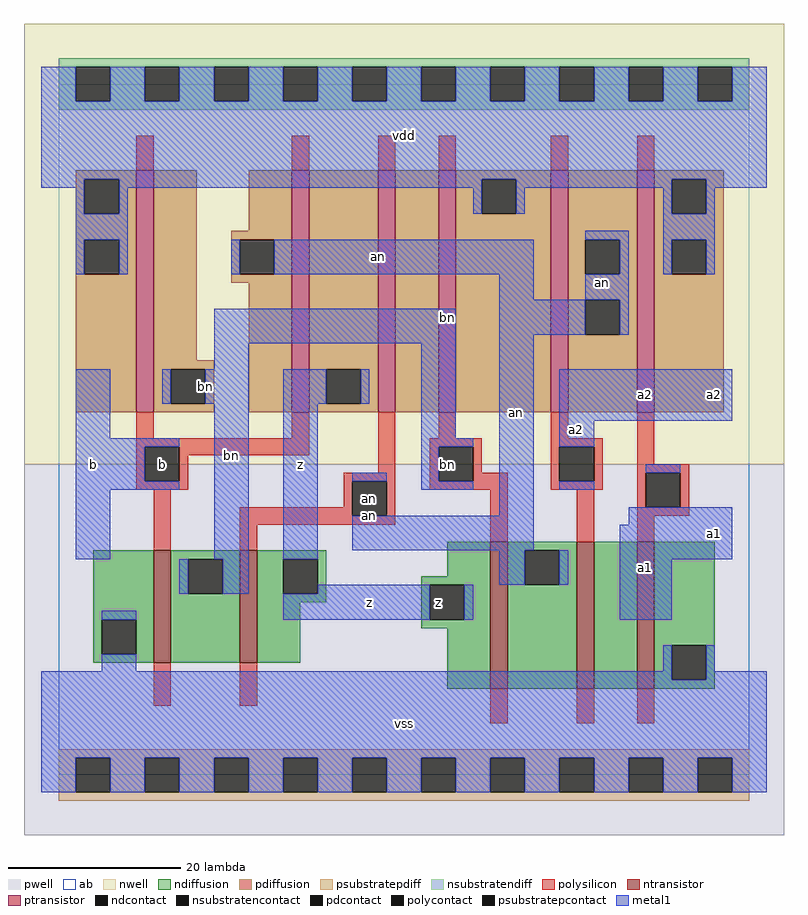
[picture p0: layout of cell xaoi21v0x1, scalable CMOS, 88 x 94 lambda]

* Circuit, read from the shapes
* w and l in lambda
.subckt xaoi21v0x1 a1 a2 an b bn vdd vss z
M1 bn b vss vss nfet w=13 l=2
M2 z an bn vss nfet w=13 l=2
M3 an bn z vss nfet w=17 l=2
M4 n1 a2 an vss nfet w=17 l=2
M5 vss a1 n1 vss nfet w=17 l=2
M6 bn b vdd vdd pfet w=28 l=2
M7 z b an vdd pfet w=28 l=2
M8 n2 an z vdd pfet w=28 l=2
M9 vdd bn n2 vdd pfet w=28 l=2
M10 an a2 vdd vdd pfet w=28 l=2
M11 vdd a1 an vdd pfet w=28 l=2
.ends

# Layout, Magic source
magic
tech scmos
<< ab >>
rect 0 0 80 80
<< pwell >>
rect -4 -7 84 36
<< nwell >>
rect -4 36 84 87
<< polysilicon >>
rect 9 70 11 74
rect 27 70 29 74
rect 37 70 39 74
rect 44 70 46 74
rect 57 70 59 74
rect 67 70 69 74
rect 9 39 11 42
rect 27 39 29 42
rect 9 38 29 39
rect 9 34 10 38
rect 14 37 29 38
rect 14 34 15 37
rect 37 35 39 42
rect 44 39 46 42
rect 57 39 59 42
rect 9 33 15 34
rect 33 34 39 35
rect 11 26 13 33
rect 33 31 34 34
rect 21 30 34 31
rect 38 30 39 34
rect 43 38 49 39
rect 43 34 44 38
rect 48 35 49 38
rect 57 38 63 39
rect 48 34 52 35
rect 43 33 52 34
rect 57 34 58 38
rect 62 34 63 38
rect 57 33 63 34
rect 67 36 69 42
rect 67 35 73 36
rect 21 29 39 30
rect 21 26 23 29
rect 50 27 52 33
rect 60 27 62 33
rect 67 31 68 35
rect 72 31 73 35
rect 67 30 73 31
rect 67 27 69 30
rect 11 8 13 13
rect 21 8 23 13
rect 50 6 52 10
rect 60 6 62 10
rect 67 6 69 10
<< ndiffusion >>
rect 4 18 11 26
rect 4 14 5 18
rect 9 14 11 18
rect 4 13 11 14
rect 13 25 21 26
rect 13 21 15 25
rect 19 21 21 25
rect 13 13 21 21
rect 23 25 31 26
rect 23 21 26 25
rect 30 21 31 25
rect 45 23 50 27
rect 23 20 31 21
rect 42 22 50 23
rect 23 13 28 20
rect 42 18 43 22
rect 47 18 50 22
rect 42 17 50 18
rect 45 10 50 17
rect 52 26 60 27
rect 52 22 54 26
rect 58 22 60 26
rect 52 10 60 22
rect 62 10 67 27
rect 69 15 76 27
rect 69 11 71 15
rect 75 11 76 15
rect 69 10 76 11
<< pdiffusion >>
rect 2 69 9 70
rect 2 65 3 69
rect 7 65 9 69
rect 2 62 9 65
rect 2 58 3 62
rect 7 58 9 62
rect 2 42 9 58
rect 11 48 16 70
rect 22 63 27 70
rect 20 62 27 63
rect 20 58 21 62
rect 25 58 27 62
rect 20 57 27 58
rect 11 47 18 48
rect 11 43 13 47
rect 17 43 18 47
rect 11 42 18 43
rect 22 42 27 57
rect 29 47 37 70
rect 29 43 31 47
rect 35 43 37 47
rect 29 42 37 43
rect 39 42 44 70
rect 46 69 57 70
rect 46 65 49 69
rect 53 65 57 69
rect 46 42 57 65
rect 59 62 67 70
rect 59 58 61 62
rect 65 58 67 62
rect 59 55 67 58
rect 59 51 61 55
rect 65 51 67 55
rect 59 42 67 51
rect 69 69 77 70
rect 69 65 71 69
rect 75 65 77 69
rect 69 62 77 65
rect 69 58 71 62
rect 75 58 77 62
rect 69 42 77 58
<< metal1 >>
rect -2 78 2 82
rect 6 78 10 82
rect 14 78 18 82
rect 22 78 26 82
rect 30 78 34 82
rect 38 78 42 82
rect 46 78 50 82
rect 54 78 58 82
rect 62 78 66 82
rect 70 78 74 82
rect 78 78 82 82
rect -2 69 82 78
rect -2 68 3 69
rect 2 65 3 68
rect 7 68 49 69
rect 7 65 8 68
rect 48 65 49 68
rect 53 68 71 69
rect 53 65 54 68
rect 70 65 71 68
rect 75 68 82 69
rect 75 65 76 68
rect 2 62 8 65
rect 61 62 66 63
rect 2 58 3 62
rect 7 58 8 62
rect 20 58 21 62
rect 25 58 55 62
rect 51 55 55 58
rect 65 58 66 62
rect 70 62 76 65
rect 70 58 71 62
rect 75 58 76 62
rect 61 55 66 58
rect 18 50 46 54
rect 18 47 22 50
rect 2 39 6 47
rect 12 43 13 47
rect 17 43 22 47
rect 2 38 14 39
rect 2 34 10 38
rect 2 33 14 34
rect 2 25 6 33
rect 18 25 22 43
rect 14 21 15 25
rect 19 21 22 25
rect 26 43 31 47
rect 35 43 36 47
rect 26 25 30 43
rect 42 39 46 50
rect 51 51 61 55
rect 65 51 66 55
rect 42 38 48 39
rect 34 34 38 35
rect 42 34 44 38
rect 42 33 48 34
rect 51 30 55 51
rect 58 41 78 47
rect 58 38 62 41
rect 58 33 62 34
rect 68 35 72 36
rect 34 26 55 30
rect 66 29 78 31
rect 51 22 54 26
rect 58 22 59 26
rect 65 25 78 29
rect 30 21 43 22
rect 5 18 9 19
rect 26 18 43 21
rect 47 18 48 22
rect 65 18 71 25
rect 5 12 9 14
rect 70 12 71 15
rect -2 11 71 12
rect 75 12 76 15
rect 75 11 82 12
rect -2 2 82 11
rect -2 -2 2 2
rect 6 -2 10 2
rect 14 -2 18 2
rect 22 -2 26 2
rect 30 -2 34 2
rect 38 -2 42 2
rect 46 -2 50 2
rect 54 -2 58 2
rect 62 -2 66 2
rect 70 -2 74 2
rect 78 -2 82 2
<< ntransistor >>
rect 11 13 13 26
rect 21 13 23 26
rect 50 10 52 27
rect 60 10 62 27
rect 67 10 69 27
<< ptransistor >>
rect 9 42 11 70
rect 27 42 29 70
rect 37 42 39 70
rect 44 42 46 70
rect 57 42 59 70
rect 67 42 69 70
<< polycontact >>
rect 10 34 14 38
rect 34 30 38 34
rect 44 34 48 38
rect 58 34 62 38
rect 68 31 72 35
<< ndcontact >>
rect 5 14 9 18
rect 15 21 19 25
rect 26 21 30 25
rect 43 18 47 22
rect 54 22 58 26
rect 71 11 75 15
<< pdcontact >>
rect 3 65 7 69
rect 3 58 7 62
rect 21 58 25 62
rect 13 43 17 47
rect 31 43 35 47
rect 49 65 53 69
rect 61 58 65 62
rect 61 51 65 55
rect 71 65 75 69
rect 71 58 75 62
<< psubstratepcontact >>
rect 2 -2 6 2
rect 10 -2 14 2
rect 18 -2 22 2
rect 26 -2 30 2
rect 34 -2 38 2
rect 42 -2 46 2
rect 50 -2 54 2
rect 58 -2 62 2
rect 66 -2 70 2
rect 74 -2 78 2
<< nsubstratencontact >>
rect 2 78 6 82
rect 10 78 14 82
rect 18 78 22 82
rect 26 78 30 82
rect 34 78 38 82
rect 42 78 46 82
rect 50 78 54 82
rect 58 78 62 82
rect 66 78 70 82
rect 74 78 78 82
<< psubstratepdiff >>
rect 0 2 80 3
rect 0 -2 2 2
rect 6 -2 10 2
rect 14 -2 18 2
rect 22 -2 26 2
rect 30 -2 34 2
rect 38 -2 42 2
rect 46 -2 50 2
rect 54 -2 58 2
rect 62 -2 66 2
rect 70 -2 74 2
rect 78 -2 80 2
rect 0 -3 80 -2
<< nsubstratendiff >>
rect 0 82 80 83
rect 0 78 2 82
rect 6 78 10 82
rect 14 78 18 82
rect 22 78 26 82
rect 30 78 34 82
rect 38 78 42 82
rect 46 78 50 82
rect 54 78 58 82
rect 62 78 66 82
rect 70 78 74 82
rect 78 78 80 82
rect 0 77 80 78
<< labels >>
rlabel polycontact 36 32 36 32 6 an
rlabel ptransistor 45 53 45 53 6 bn
rlabel metal1 4 36 4 36 6 b
rlabel polycontact 12 36 12 36 6 b
rlabel metal1 17 45 17 45 6 bn
rlabel metal1 28 36 28 36 6 z
rlabel metal1 20 37 20 37 6 bn
rlabel metal1 40 6 40 6 6 vss
rlabel ndcontact 44 20 44 20 6 z
rlabel metal1 36 20 36 20 6 z
rlabel metal1 36 30 36 30 6 an
rlabel metal1 40 74 40 74 6 vdd
rlabel polycontact 45 36 45 36 6 bn
rlabel metal1 60 40 60 40 6 a2
rlabel metal1 53 42 53 42 6 an
rlabel metal1 37 60 37 60 6 an
rlabel metal1 68 24 68 24 6 a1
rlabel metal1 76 28 76 28 6 a1
rlabel metal1 68 44 68 44 6 a2
rlabel metal1 76 44 76 44 6 a2
rlabel metal1 63 57 63 57 6 an
<< end >>
